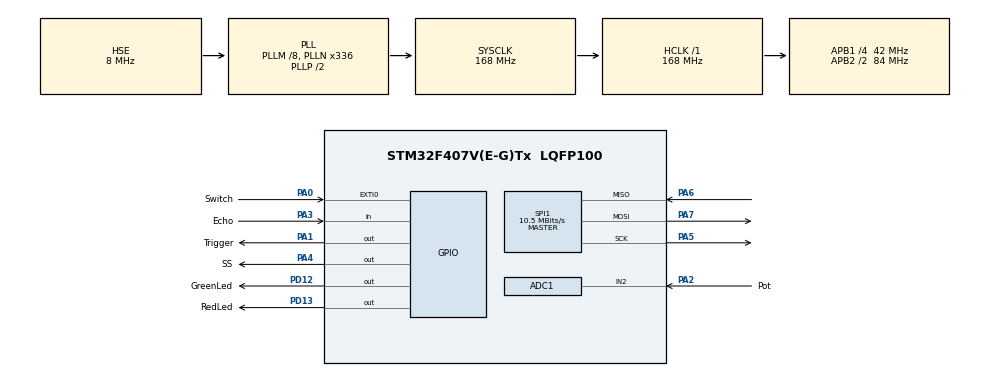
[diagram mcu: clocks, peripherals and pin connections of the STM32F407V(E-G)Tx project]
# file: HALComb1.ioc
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ADC1.Channel-0\#ChannelRegularConversion=ADC_CHANNEL_2
ADC1.NbrOfConversionFlag=1
ADC1.Rank-0\#ChannelRegularConversion=1
ADC1.Resolution=ADC_RESOLUTION_10B
ADC1.SamplingTime-0\#ChannelRegularConversion=ADC_SAMPLETIME_28CYCLES
ADC1.master=1
Mcu.Family=STM32F4
Mcu.Name=STM32F407V(E-G)Tx
Mcu.Package=LQFP100
NVIC.EXTI0_IRQn=true\:0\:0\:false\:false\:true\:true\:true
NVIC.PriorityGroup=NVIC_PRIORITYGROUP_0
PA0-WKUP.GPIO_Label=Switch
PA0-WKUP.Signal=GPXTI0
PA1.GPIO_Label=Trigger
PA1.Signal=GPIO_Output
PA13.Mode=Serial_Wire
PA13.Signal=SYS_JTMS-SWDIO
PA14.Mode=Serial_Wire
PA14.Signal=SYS_JTCK-SWCLK
PA2.GPIO_Label=Pot
PA2.Signal=ADCx_IN2
PA3.GPIO_Label=Echo
PA3.Signal=GPIO_Input
PA4.GPIO_Label=SS
PA4.PinState=GPIO_PIN_RESET
PA4.Signal=GPIO_Output
PA5.Mode=Full_Duplex_Master
PA5.Signal=SPI1_SCK
PA6.Mode=Full_Duplex_Master
PA6.Signal=SPI1_MISO
PA7.Mode=Full_Duplex_Master
PA7.Signal=SPI1_MOSI
PD12.GPIO_Label=GreenLed
PD12.Signal=GPIO_Output
PD13.GPIO_Label=RedLed
PD13.Signal=GPIO_Output
ProjectManager.HeapSize=0x200
ProjectManager.StackSize=0x400
ProjectManager.TargetToolchain=STM32CubeIDE
RCC.48MHZClocksFreq_Value=48000000
RCC.AHBFreq_Value=168000000
RCC.APB1CLKDivider=RCC_HCLK_DIV4
RCC.APB1Freq_Value=42000000
RCC.APB1TimFreq_Value=84000000
RCC.APB2CLKDivider=RCC_HCLK_DIV2
RCC.APB2Freq_Value=84000000
RCC.APB2TimFreq_Value=168000000
RCC.CortexFreq_Value=168000000
RCC.HCLKFreq_Value=168000000
RCC.HSE_VALUE=8000000
RCC.HSI_VALUE=16000000
RCC.LSE_VALUE=32768
RCC.PLLM=8
RCC.PLLN=336
RCC.PLLQ=7
RCC.PLLSourceVirtual=RCC_PLLSOURCE_HSE
RCC.SYSCLKFreq_VALUE=168000000
RCC.SYSCLKSource=RCC_SYSCLKSOURCE_PLLCLK
RCC.VCOOutputFreq_Value=336000000
SH.ADCx_IN2.0=ADC1_IN2,IN2
SPI1.BaudRatePrescaler=SPI_BAUDRATEPRESCALER_8
SPI1.CalculateBaudRate=10.5 MBits/s
SPI1.Direction=SPI_DIRECTION_2LINES
SPI1.Mode=SPI_MODE_MASTER
SPI1.VirtualType=VM_MASTER
board=STM32F407G-DISC1

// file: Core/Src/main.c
/* USER CODE BEGIN Header */
/**
  ******************************************************************************
  * @file           : main.c
  * @brief          : Main program body
  ******************************************************************************
  * @attention
  *
  * <h2><center>&copy; Copyright (c) 2020 STMicroelectronics.
  * All rights reserved.</center></h2>
  *
  * This software component is licensed by ST under Ultimate Liberty license
  * SLA0044, the "License"; You may not use this file except in compliance with
  * the License. You may obtain a copy of the License at:
  *                             www.st.com/SLA0044
  *
  ******************************************************************************
  */
/* USER CODE END Header */
#include "main.h"

/* USER CODE BEGIN Includes */
#include <stdio.h>
/* USER CODE END Includes */

ADC_HandleTypeDef hadc1;

SPI_HandleTypeDef hspi1;

void SystemClock_Config(void);
static void MX_GPIO_Init(void);
static void MX_SPI1_Init(void);
static void MX_ADC1_Init(void);
/* USER CODE BEGIN PFP */
extern void initialise_monitor_handles(void);
/* USER CODE END PFP */

/* USER CODE BEGIN 0 */
/**
  * @brief  Delay function.
  *
  */
void delay(uint8_t time)
{
	for(uint8_t i;i<time;i++);
}

typedef enum
{
	SWITCH_DISABLE;			// 0
	ALL_OK;					// 1
	INC_POT;				// 2
	DEC_DIST;				// 3
}BUFFER;

volatile uint32_t localTime, sensorTime;
volatile uint32_t distance;
volatile uint32_t potVal;
volatile uint8_t flag = RESET;

const uint8_t potThreshold = 512;			// 50%

BUFFER buffer = SWITCH_DISABLE;

/**
  * @brief  Reads output data from HC SR-04.
  *
  * @return Time.
  */
uint32_t hcsr04_read (void)
{
	localTime = 0;
	HAL_GPIO_WritePin(Trigger_GPIO_Port, Trigger_Pin, GPIO_PIN_RESET);  // pull the TRIG pin HIGH
	delay(2);  // wait for 2 us

	HAL_GPIO_WritePin(Trigger_GPIO_Port, Trigger_Pin, GPIO_PIN_SET);  // pull the TRIG pin HIGH
	delay(10);  // wait for 10 us
	HAL_GPIO_WritePin(Trigger_GPIO_Port, Trigger_Pin, GPIO_PIN_RESET);  // pull the TRIG pin low

	// read the time for which the pin is high

	while (!(HAL_GPIO_ReadPin(Echo_GPIO_Port, Echo_Pin)));  // wait for the ECHO pin to go high
	while (HAL_GPIO_ReadPin(Echo_GPIO_Port, Echo_Pin))    // while the pin is high
	{
		localTime += 1;   // measure time for which the pin is high
	    delay(1);
	}
	return localTime;
}

/**
  * @brief  Get analog input from potentiometer (0-1023).
  * @param  hadc pointer to a ADC_HandleTypeDef structure that contains
  *         the configuration information for the specified ADC.
  *
  * @return Potentiometer value.
  */
 uint32_t getPotVal(ADC_HandleTypeDef pot)
 {
	 uint32_t temp = 0;
	 HAL_ADC_Start(&pot);
	 if(HAL_ADC_PollForConversion(&hadc1, 5) == HAL_OK);
	 {
		 temp = HAL_ADC_GetValue(&hadc1);
		 HAL_Delay(50);
	 }
	 return temp;
 }
/* USER CODE END 0 */

int main(void)
{

  /* MCU Configuration--------------------------------------------------------*/

  /* Reset of all peripherals, Initializes the Flash interface and the Systick. */
  HAL_Init();

  /* Configure the system clock */
  SystemClock_Config();

  /* Initialize all configured peripherals */
  MX_GPIO_Init();
  MX_SPI1_Init();
  MX_ADC1_Init();
  /* USER CODE BEGIN 2 */
// HAL_SPI_TransmitReceive(&hspi1, buffer, bufferrx, 10, 100);
  /* USER CODE END 2 */

  /* Infinite loop */
  /* USER CODE BEGIN WHILE */
  // HAL_GPIO_WritePin(SS_GPIO_Port, SS_Pin, SET);
  while (1)
  {
    /* USER CODE END WHILE */
	potVal = getPotVal(&hadc1);
    /* USER CODE BEGIN 3 */
	  if(flag == SET)
	  {
		  HAL_GPIO_WritePin(GreenLed_GPIO_Port, GreenLed_Pin, SET);
		  if(potVal >= potThreshold)
		  {
			  delay(500);
			  sensorTime = hcsr04_read();
			  distance  = sensorTime * 0.034 / 2;
			  if(distance > 0 && distance < 4)
			  {
				  HAL_GPIO_WritePin(RedLed_GPIO_Port, RedLed_Pin, SET);
				  buffer = ALL_OK;
			  }
			  else
			  {
				  HAL_GPIO_WritePin(RedLed_GPIO_Port, RedLed_Pin, RESET);
				  buffer = DEC_DIST;
			  }
			  delay(200);
		  }
		  else
		  {
			  buffer = INC_POT;
			  HAL_GPIO_WritePin(RedLed_GPIO_Port, RedLed_Pin, RESET);
		  }
	  }
	  else
	  {
		  HAL_GPIO_WritePin(GreenLed_GPIO_Port, GreenLed_Pin, RESET);
		  buffer = SWITCH_DISABLE;
	  }

	  HAL_SPI_Transmit(&hspi1, &buffer, 1, 10);
	  delay(10);

  }
  /* USER CODE END 3 */erw
}

void SystemClock_Config(void)
{
  RCC_OscInitTypeDef RCC_OscInitStruct = {0};
  RCC_ClkInitTypeDef RCC_ClkInitStruct = {0};

  /** Configure the main internal regulator output voltage
  */
  __HAL_RCC_PWR_CLK_ENABLE();
  __HAL_PWR_VOLTAGESCALING_CONFIG(PWR_REGULATOR_VOLTAGE_SCALE1);
  /** Initializes the RCC Oscillators according to the specified parameters
  * in the RCC_OscInitTypeDef structure.
  */
  RCC_OscInitStruct.OscillatorType = RCC_OSCILLATORTYPE_HSE;
  RCC_OscInitStruct.HSEState = RCC_HSE_OFF;
  RCC_OscInitStruct.PLL.PLLState = RCC_PLL_ON;
  RCC_OscInitStruct.PLL.PLLSource = RCC_PLLSOURCE_HSE;
  RCC_OscInitStruct.PLL.PLLM = 8;
  RCC_OscInitStruct.PLL.PLLN = 336;
  RCC_OscInitStruct.PLL.PLLP = RCC_PLLP_DIV2;
  RCC_OscInitStruct.PLL.PLLQ = 7;
  if (HAL_RCC_OscConfig(&RCC_OscInitStruct) != HAL_OK)
  {
    Error_Handler();
  }
  /** Initializes the CPU, AHB and APB buses clocks
  */
  RCC_ClkInitStruct.ClockType = RCC_CLOCKTYPE_HCLK|RCC_CLOCKTYPE_SYSCLK
                              |RCC_CLOCKTYPE_PCLK1|RCC_CLOCKTYPE_PCLK2;
  RCC_ClkInitStruct.SYSCLKSource = RCC_SYSCLKSOURCE_PLLCLK;
  RCC_ClkInitStruct.AHBCLKDivider = RCC_SYSCLK_DIV1;
  RCC_ClkInitStruct.APB1CLKDivider = RCC_HCLK_DIV4;
  RCC_ClkInitStruct.APB2CLKDivider = RCC_HCLK_DIV2;

  if (HAL_RCC_ClockConfig(&RCC_ClkInitStruct, FLASH_LATENCY_5) != HAL_OK)
  {
    Error_Handler();
  }
}

static void MX_ADC1_Init(void)
{

  ADC_ChannelConfTypeDef sConfig = {0};

  /** Configure the global features of the ADC (Clock, Resolution, Data Alignment and number of conversion)
  */
  hadc1.Instance = ADC1;
  hadc1.Init.ClockPrescaler = ADC_CLOCK_SYNC_PCLK_DIV4;
  hadc1.Init.Resolution = ADC_RESOLUTION_10B;
  hadc1.Init.ScanConvMode = DISABLE;
  hadc1.Init.ContinuousConvMode = DISABLE;
  hadc1.Init.DiscontinuousConvMode = DISABLE;
  hadc1.Init.ExternalTrigConvEdge = ADC_EXTERNALTRIGCONVEDGE_NONE;
  hadc1.Init.ExternalTrigConv = ADC_SOFTWARE_START;
  hadc1.Init.DataAlign = ADC_DATAALIGN_RIGHT;
  hadc1.Init.NbrOfConversion = 1;
  hadc1.Init.DMAContinuousRequests = DISABLE;
  hadc1.Init.EOCSelection = ADC_EOC_SINGLE_CONV;
  if (HAL_ADC_Init(&hadc1) != HAL_OK)
  {
    Error_Handler();
  }
  /** Configure for the selected ADC regular channel its corresponding rank in the sequencer and its sample time.
  */
  sConfig.Channel = ADC_CHANNEL_2;
  sConfig.Rank = 1;
  sConfig.SamplingTime = ADC_SAMPLETIME_28CYCLES;
  if (HAL_ADC_ConfigChannel(&hadc1, &sConfig) != HAL_OK)
  {
    Error_Handler();
  }

}

static void MX_SPI1_Init(void)
{

  /* SPI1 parameter configuration*/
  hspi1.Instance = SPI1;
  hspi1.Init.Mode = SPI_MODE_MASTER;
  hspi1.Init.Direction = SPI_DIRECTION_2LINES;
  hspi1.Init.DataSize = SPI_DATASIZE_8BIT;
  hspi1.Init.CLKPolarity = SPI_POLARITY_LOW;
  hspi1.Init.CLKPhase = SPI_PHASE_1EDGE;
  hspi1.Init.NSS = SPI_NSS_SOFT;
  hspi1.Init.BaudRatePrescaler = SPI_BAUDRATEPRESCALER_8;
  hspi1.Init.FirstBit = SPI_FIRSTBIT_MSB;
  hspi1.Init.TIMode = SPI_TIMODE_DISABLE;
  hspi1.Init.CRCCalculation = SPI_CRCCALCULATION_DISABLE;
  hspi1.Init.CRCPolynomial = 10;
  if (HAL_SPI_Init(&hspi1) != HAL_OK)
  {
    Error_Handler();
  }

}

static void MX_GPIO_Init(void)
{
  GPIO_InitTypeDef GPIO_InitStruct = {0};

  /* GPIO Ports Clock Enable */
  __HAL_RCC_GPIOA_CLK_ENABLE();
  __HAL_RCC_GPIOD_CLK_ENABLE();

  /*Configure GPIO pin Output Level */
  HAL_GPIO_WritePin(GPIOA, Trigger_Pin|SS_Pin, GPIO_PIN_RESET);

  /*Configure GPIO pin Output Level */
  HAL_GPIO_WritePin(GPIOD, GreenLed_Pin|RedLed_Pin, GPIO_PIN_RESET);

  /*Configure GPIO pin : Switch_Pin */
  GPIO_InitStruct.Pin = Switch_Pin;
  GPIO_InitStruct.Mode = GPIO_MODE_IT_RISING;
  GPIO_InitStruct.Pull = GPIO_NOPULL;
  HAL_GPIO_Init(Switch_GPIO_Port, &GPIO_InitStruct);

  /*Configure GPIO pins : Trigger_Pin SS_Pin */
  GPIO_InitStruct.Pin = Trigger_Pin|SS_Pin;
  GPIO_InitStruct.Mode = GPIO_MODE_OUTPUT_PP;
  GPIO_InitStruct.Pull = GPIO_NOPULL;
  GPIO_InitStruct.Speed = GPIO_SPEED_FREQ_LOW;
  HAL_GPIO_Init(GPIOA, &GPIO_InitStruct);

  /*Configure GPIO pin : Echo_Pin */
  GPIO_InitStruct.Pin = Echo_Pin;
  GPIO_InitStruct.Mode = GPIO_MODE_INPUT;
  GPIO_InitStruct.Pull = GPIO_NOPULL;
  HAL_GPIO_Init(Echo_GPIO_Port, &GPIO_InitStruct);

  /*Configure GPIO pins : GreenLed_Pin RedLed_Pin */
  GPIO_InitStruct.Pin = GreenLed_Pin|RedLed_Pin;
  GPIO_InitStruct.Mode = GPIO_MODE_OUTPUT_PP;
  GPIO_InitStruct.Pull = GPIO_NOPULL;
  GPIO_InitStruct.Speed = GPIO_SPEED_FREQ_LOW;
  HAL_GPIO_Init(GPIOD, &GPIO_InitStruct);

  /* EXTI interrupt init*/
  HAL_NVIC_SetPriority(EXTI0_IRQn, 0, 0);
  HAL_NVIC_EnableIRQ(EXTI0_IRQn);

}

/* USER CODE BEGIN 4 */
void HAL_GPIO_EXTI_Callback(uint16_t GPIO_Pin)
{
	if(flag == RESET)
	{
		flag = SET;
	}
	else if(flag == SET)
	{
		flag = RESET;
	}
}
/* USER CODE END 4 */

void Error_Handler(void)
{
}

/************************ (C) COPYRIGHT STMicroelectronics *****END OF FILE****/
